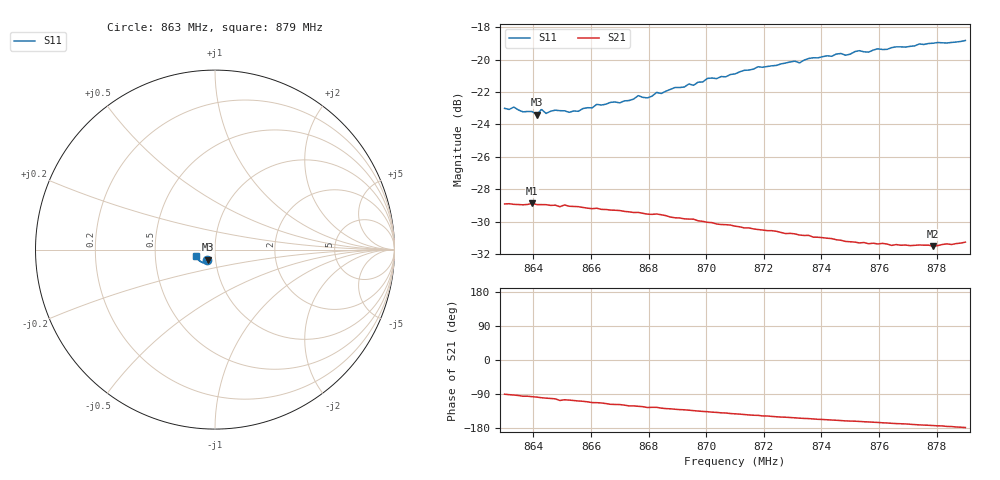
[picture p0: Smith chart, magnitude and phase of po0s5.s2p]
# HZ S RI R 50
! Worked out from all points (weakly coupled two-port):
!   101 points, 863 MHz to 879 MHz, reference 50 ohm
!   highest |S21| = -28.87 dB at 863.96 MHz (marker M1); lowest = -31.5 dB at 877.88 MHz (marker M2)
!   lowest |S11| = -23.4 dB at 864.12 MHz (marker M3), VSWR 1.15, Z = 46.1 - j5.18 ohm
!   |S11| at or under -10 dB: start of sweep to end of sweep
!   S12 and S22 are empty: the file has one direction only
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8.63e8  -0.0422 -0.0568  -0.000175 -0.0359  0 0  0 0
8.6332e8  -0.0421 -0.0576  -0.00153 -0.0357  0 0  0 0
8.6364e8  -0.04 -0.0563  -0.00348 -0.0355  0 0  0 0
8.6396e8  -0.0385 -0.0574  -0.00429 -0.0357  0 0  0 0
8.6412e8  -0.038 -0.0559  -0.00489 -0.0354  0 0  0 0
8.6428e8  -0.0379 -0.0591  -0.00593 -0.0352  0 0  0 0
8.6444e8  -0.0378 -0.0568  -0.00658 -0.0351  0 0  0 0
8.6572e8  -0.0348 -0.0615  -0.0114 -0.0331  0 0  0 0
8.67e8  -0.0353 -0.0645  -0.0159 -0.0303  0 0  0 0
8.6764e8  -0.038 -0.0675  -0.018 -0.0286  0 0  0 0
8.6796e8  -0.0372 -0.0665  -0.0193 -0.0272  0 0  0 0
8.6844e8  -0.0386 -0.0685  -0.02 -0.0265  0 0  0 0
8.694e8  -0.0438 -0.0718  -0.0217 -0.0238  0 0  0 0
8.6956e8  -0.0446 -0.0704  -0.0222 -0.0233  0 0  0 0
8.7004e8  -0.0471 -0.0737  -0.0228 -0.0217  0 0  0 0
8.71e8  -0.0521 -0.0738  -0.0241 -0.0188  0 0  0 0
8.718e8  -0.0585 -0.075  -0.0248 -0.0167  0 0  0 0
8.7324e8  -0.067 -0.0712  -0.0257 -0.0128  0 0  0 0
8.7372e8  -0.0714 -0.072  -0.0258 -0.0117  0 0  0 0
8.7644e8  -0.0919 -0.0585  -0.026 -0.00597  0 0  0 0
8.7788e8  -0.1021 -0.0469  -0.0264 -0.00326  0 0  0 0
8.79e8  -0.1084 -0.0372  -0.0273 -0.000847  0 0  0 0
